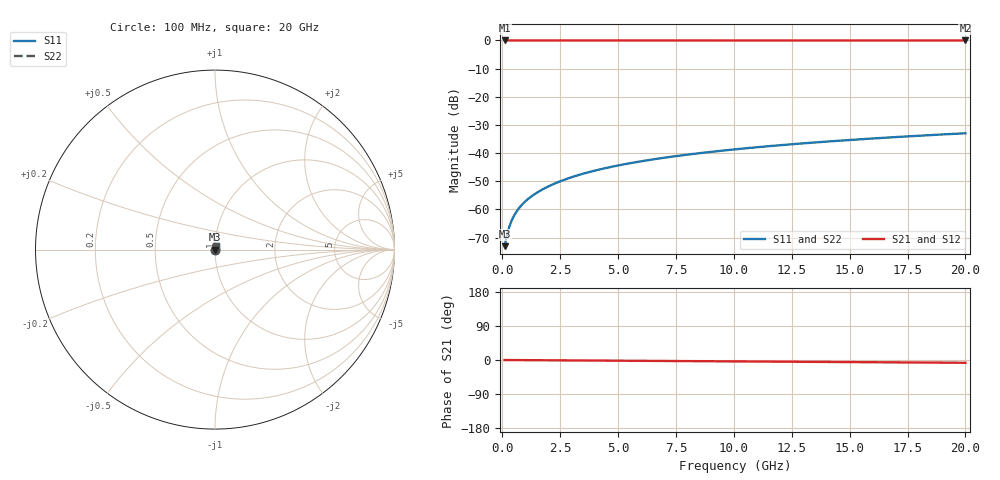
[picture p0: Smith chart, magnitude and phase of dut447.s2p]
! Touchstone file exported from HFSS 2026.1.0
!  File:  C:/ffzhzh/LocalFiles/Ansys_Project_Files/temp_train_TSV_447_1783021633_51716.aedt
!  Generated:  03:48:55 AM Jul  3, 2026
!  Design:  TSV
!  Project:  temp_train_TSV_447_1783021633_51716
! Variables:
!  h_bsmrdl = 2um
!  h_ox = 20um
!  h_rdl = 5um
!  h_sub = 71.06um
!  h_tmrdl = 5um
!  h_tsv = 71.06um
!  h_via = 3um
!  l_bsmrdl = 300um
!  l_sub = 416.16um
!  l_tmrdl = 200um
!  m_sub = 200um
!  pitch = 40.3um
!  r_tsv = 8.08um
!  s_tmrdl = 10um
!  w_bsmrdl = 18um
!  w_sub = 500um
!  w_tmrdl = 12um
!  x_tsv_center1 = 206um
!  x_tsv_center2 = 524um
!  x_tsv_center3 = 736um
!  x_tsv_center4 = 1054um
!  x_tsv_center5 = 1266um
!  x_tsv_center6 = 1584um
# GHz S MA R 50.000000
! Terminal data exported
! Port[1] = TSV1_1_T1
! Port[2] = TSV1_1_T2
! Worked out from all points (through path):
!   200 points, 100 MHz to 20 GHz, reference 50 ohm
!   highest |S21| = 0.00 dB at 100 MHz (marker M1); lowest = 0.0 dB at 20 GHz (marker M2)
!   group delay of S21, straight-line fit = 1.02 ps
!   lowest |S11| = -73.1 dB at 100 MHz (marker M3), VSWR 1.00, Z = 50 + j0.0153 ohm
!   |S11| at or under -10 dB: start of sweep to end of sweep
!   |S22| runs from -73.1 to -33.0 dB; largest |S21 - S12| = 6.5e-15
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0.1  0.0002224 43.4  0.9998 -0.0  0.9998 -0.0  0.0002224 43.4
! Gamma 0 0 0 0
! Port Impedance 50 0 50 0
0.2  0.0003491 60.4  0.9998 -0.1  0.9998 -0.1  0.0003491 60.4
0.3  0.0004881 67.3  0.9998 -0.1  0.9998 -0.1  0.0004881 67.3
0.4  0.0006275 70.6  0.9998 -0.2  0.9998 -0.2  0.0006275 70.6
0.5  0.0007639 72.4  0.9998 -0.2  0.9998 -0.2  0.0007639 72.4
0.6  0.0008965 73.6  0.9998 -0.2  0.9998 -0.2  0.0008965 73.6
0.7  0.001025 74.4  0.9997 -0.3  0.9997 -0.3  0.001025 74.4
0.8  0.001151 75.1  0.9997 -0.3  0.9997 -0.3  0.001151 75.1
1  0.001396 76.1  0.9997 -0.4  0.9997 -0.4  0.001396 76.1
1.4  0.001871 77.7  0.9996 -0.5  0.9996 -0.5  0.001871 77.7
1.7  0.002222 78.6  0.9996 -0.6  0.9996 -0.6  0.002222 78.6
2  0.002572 79.4  0.9996 -0.7  0.9996 -0.7  0.002572 79.4
2.7  0.003387 80.5  0.9995 -1.0  0.9995 -1.0  0.003387 80.5
3.5  0.004313 81.2  0.9994 -1.3  0.9994 -1.3  0.004313 81.2
4.2  0.005117 81.5  0.9994 -1.6  0.9994 -1.6  0.005117 81.5
5  0.006029 81.7  0.9993 -1.9  0.9993 -1.9  0.006029 81.7
6.8  0.008054 81.8  0.9992 -2.5  0.9992 -2.5  0.008054 81.8
8.3  0.009724 81.8  0.9991 -3.1  0.9991 -3.1  0.009724 81.8
10.1  0.01171 81.6  0.999 -3.7  0.999 -3.7  0.01171 81.6
13.4  0.01534 80.9  0.9988 -4.9  0.9988 -4.9  0.01534 80.9
16.7  0.01894 80.1  0.9986 -6.1  0.9986 -6.1  0.01894 80.1
20  0.0225 79.2  0.9984 -7.3  0.9984 -7.3  0.0225 79.2
